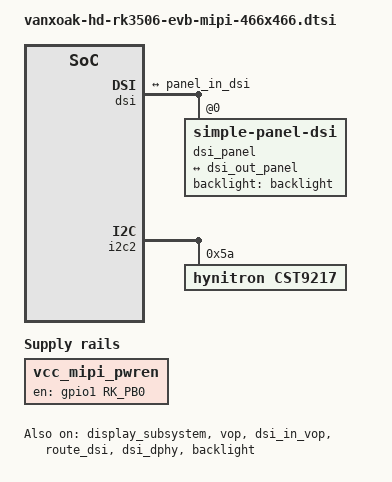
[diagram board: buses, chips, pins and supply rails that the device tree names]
#include <dt-bindings/display/drm_mipi_dsi.h>
#include <dt-bindings/input/rk-input.h>
#include <dt-bindings/suspend/rockchip-rk3506.h>

/ {
	vcc_mipi_pwren: vcc-mipi_pwren-regulator {
		compatible = "regulator-fixed";
		regulator-boot-on;
		regulator-always-on;
		regulator-name = "vcc_mipi_pwren";
		enable-active-high;
		gpio = <&gpio1 RK_PB0 GPIO_ACTIVE_HIGH>;
		pinctrl-name = "default";
		pinctrl-0 = <&mipi_pwren_gpio>;
	};
};

&dsi {
	status = "okay";
	//rockchip,lane-rate = <1000>;
	dsi_panel: panel@0 {
		status = "okay";
		compatible = "simple-panel-dsi";
		reg = <0>;
		backlight = <&backlight>;
		// power-supply = <&vcc3v3_lcd_n>;
		// reset-gpio = <&gpio1 RK_PB0 GPIO_ACTIVE_LOW>;
		reset-delay-ms = <10>;
		enable-delay-ms = <10>;
		prepare-delay-ms = <10>;
		unprepare-delay-ms = <10>;
		disable-delay-ms = <60>;
		//width-mm = <68>;
		//height-mm = <121>;
		dsi,flags = <(MIPI_DSI_MODE_VIDEO | MIPI_DSI_MODE_VIDEO_BURST |
				  MIPI_DSI_MODE_LPM | MIPI_DSI_MODE_NO_EOT_PACKET)>;
		dsi,format = <MIPI_DSI_FMT_RGB888>;
		dsi,lanes  = <1>;

        // 1.73-inch CO5300 (466x466)
        panel-init-sequence = [
			15 00 02 FE 20
			15 00 02 F4 5A
			15 00 02 F5 59
			15 00 02 FE 80
			15 00 02 03 00
			15 00 02 FE 00
			15 00 02 53 20
			15 00 02 51 FF
			15 00 02 63 AB
			39 00 05 2A 00 06 01 D7
			39 00 05 2B 00 00 01 D1
			05 FF 01 11
			05 90 01 29
		];
		
	panel-exit-sequence = [
			05 00 01 28
			05 78 01 10
		];

		disp_timings0: display-timings {
			native-mode = <&dsi_timing0>;
			dsi_timing0: timing0 {
				clock-frequency = <15000000>;//60fps

				hactive = <466>;
				vactive = <466>;

				vsync-len = <4>;
				vback-porch = <20>;
				vfront-porch = <20>;

				hsync-len = <4>;
				hback-porch = <20>;
				hfront-porch = <20>;

				vsync-active = <0>;
				hsync-active = <0>;
				de-active = <0>;
				pixelclk-active = <0>;
			};
		};

		ports {
			#address-cells = <1>;
			#size-cells = <0>;

			port@0 {
				reg = <0>;
				panel_in_dsi: endpoint {
					remote-endpoint = <&dsi_out_panel>;
					status = "okay";
				};
			};
		};
	};

	ports {
		#address-cells = <1>;
		#size-cells = <0>;

		port@1 {
			reg = <1>;
			dsi_out_panel: endpoint {
				remote-endpoint = <&panel_in_dsi>;
			};
		};
	};
};

&display_subsystem {
	status = "okay";
	logo-memory-region = <&drm_logo>;
};

&vop {
	status = "okay";
};

&dsi_in_vop {
	status = "okay";
};

&rgb_in_vop {
	status = "disabled";
};

&route_dsi {
	status = "okay";
	//logo,rotate = <3>;
};

&route_rgb {
	status = "disabled";
};

&dsi_dphy {
	status = "okay";
	/* 1-lane panel: keep D-PHY lane count aligned with dsi,lanes = <1> */
	inno,lanes = <1>;
};

&backlight {
	compatible = "pwm-backlight";
	pwms = <&pwm0_4ch_2 0 10000 0>;
	status = "okay";
};

// TOUCH
&i2c2 {
	status = "okay";
	pinctrl-names = "default";
	pinctrl-0 = <&rm_io4_i2c2_scl &rm_io5_i2c2_sda>;

        cst9217: cst9217@5a {
		status = "okay";
		compatible = "hynitron,cst9217";   /* 匹配 cst9217_of_match */
		reg = <0x5a>;                     /* I2C 设备地址 */
		pinctrl-names = "default";

		touchscreen-size-x = <466>;       /* 匹配 1.73 寸 cst9217 分辨率 */
		touchscreen-size-y = <466>;

		/* 坐标翻转/镜像（按需开启） */
		// touchscreen-inverted-x;
		// touchscreen-inverted-y;
		// touchscreen-swapped-x-y;
	};
};

&pinctrl {
	mipi_lcd{
		mipi_pwren_gpio: mipi_pwren_gpio {
			rockchip,pins = <1 RK_PB0 RK_FUNC_GPIO &pcfg_pull_none>;
		};
	};
};
